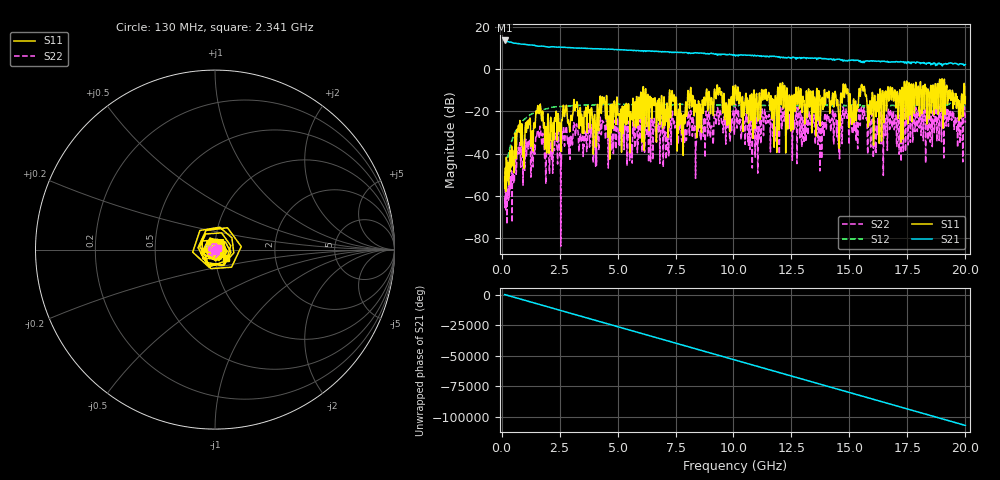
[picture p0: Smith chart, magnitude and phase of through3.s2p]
!Created with skrf (http://scikit-rf.org).
# GHz S RI R 50.0
!freq ReS11 ImS11 ReS21 ImS21 ReS12 ImS12 ReS22 ImS22
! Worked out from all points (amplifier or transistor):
!   1601 points, 130 MHz to 20 GHz, reference 50 ohm
!   highest |S21| = 13.4 dB at 130 MHz (marker M1)
!   |S21| within 3 dB of that: start of sweep to 1.949 GHz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
!   unconditionally stable (mu >= 1): start of sweep to end of sweep
!   at 3.433 GHz: K = 1.38, MAG = 9.8 dB, |S12| = -17.1 dB
!   at 10.06 GHz: K = 1.74, MAG = 6.9 dB, |S12| = -17.5 dB
!   at 20 GHz: K = 2.71, MAG = 2.3 dB, |S12| = -16.9 dB
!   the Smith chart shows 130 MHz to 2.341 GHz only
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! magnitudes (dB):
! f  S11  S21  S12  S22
! 130 MHz  -51.1  13.4  -53.4  -61.0
! 639.2 MHz  -40.6  12.0  -28.8  -48.5
! 1.583 GHz  -18.8  10.7  -20.0  -29.5
! 1.956 GHz  -33.7  10.4  -18.8  -33.1
! 2.726 GHz  -21.5  10.2  -17.7  -34.5
! 3.446 GHz  -21.5  9.8  -17.1  -32.8
! 4.017 GHz  -21.6  9.5  -16.9  -29.8
! 4.34 GHz  -13.2  9.4  -17.0  -24.4
! 4.65 GHz  -26.7  9.3  -16.8  -31.1
! 6.762 GHz  -22.9  8.2  -16.7  -29.8
! 7.817 GHz  -26.9  7.7  -16.8  -31.5
! 9.382 GHz  -9.5  6.9  -17.1  -23.6
! 9.742 GHz  -17.8  6.7  -17.1  -26.5
! 10.06 GHz  -9.2  6.3  -17.5  -20.2
! 13.38 GHz  -30.3  5.2  -16.8  -25.6
! 14.6 GHz  -23.6  4.4  -17.2  -26.7
! 14.82 GHz  -7.3  3.8  -17.5  -19.6
! 15.14 GHz  -22.7  4.2  -17.0  -30.3
! 15.59 GHz  -10.5  3.6  -17.4  -23.7
! 16.11 GHz  -18.8  3.7  -16.9  -38.8
! 16.7 GHz  -15.2  3.3  -17.4  -19.5
! 20 GHz  -13.3  2.1  -16.9  -25.4
